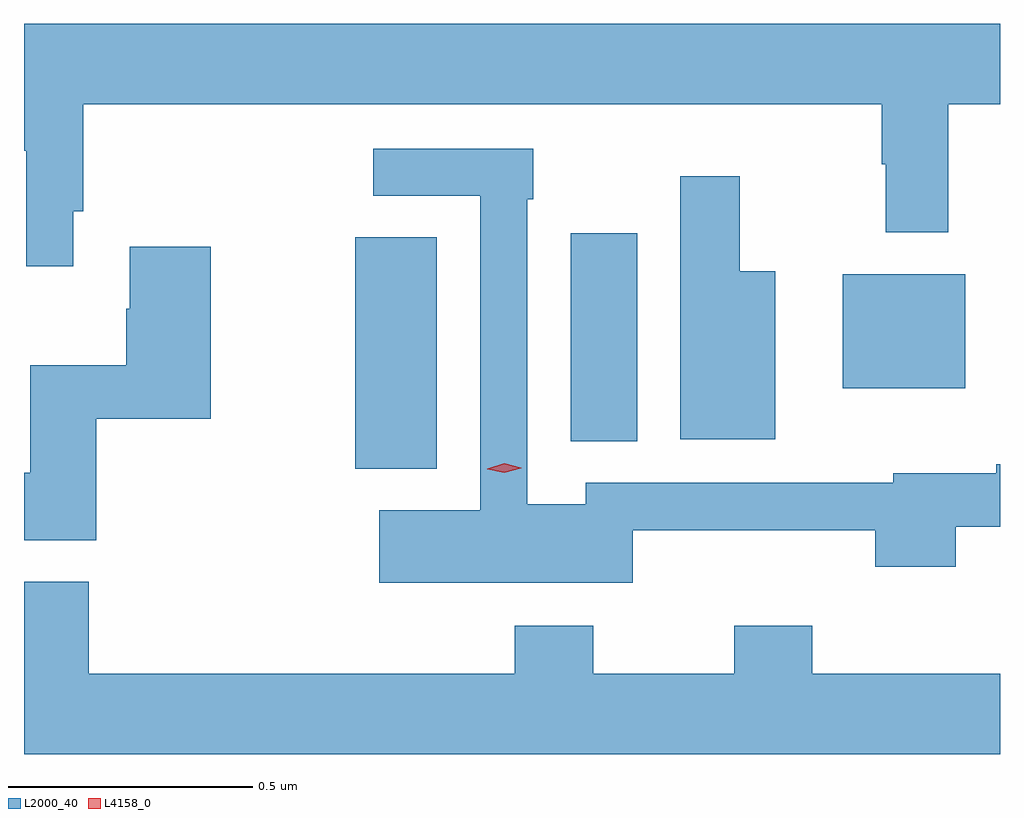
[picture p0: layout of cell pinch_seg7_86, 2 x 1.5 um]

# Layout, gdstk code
import gdstk
lib = gdstk.Library(unit=1e-6, precision=1e-09)
def R(c, l, rs):  # rectangles x0, y0, x1, y1
    for r in rs: c.add(gdstk.rectangle(r[:2], r[2:], *l))
def P(c, l, *ps):  # polygons
    for p in ps: c.add(gdstk.Polygon(p, *l))
L2000_40 = (2000, 40)
L4158_0 = (4158, 0)

pinch_seg7_86 = lib.new_cell('pinch_seg7_86')
R(pinch_seg7_86, L2000_40, [(885.53,1054.481,885.697,1054.955), (885.971,1054.537,886.108,1054.963), (886.529,1054.646,886.78,1054.879)])
P(pinch_seg7_86, L2000_40, [(884.952,1055.008),(884.972,1055.008),(884.972,1055.228),(886.609,1055.228),(886.609,1055.105),(886.617,1055.105),(886.617,1054.965),(886.745,1054.965),(886.745,1055.228),(886.851,1055.228),(886.851,1055.392),(884.851,1055.392),(884.851,1055.132),(884.856,1055.132),(884.856,1054.896),(884.952,1054.896)],
  [(886.098,1054.355),(886.595,1054.355),(886.595,1054.28),(886.76,1054.28),(886.76,1054.362),(886.851,1054.362),(886.851,1054.49),(886.843,1054.49),(886.843,1054.471),(886.632,1054.471),(886.632,1054.452),(886.002,1054.452),(886.002,1054.408),(885.882,1054.408),(885.882,1055.033),(885.895,1055.033),(885.895,1055.136),(885.567,1055.136),(885.567,1055.04),(885.786,1055.04),(885.786,1054.396),(885.579,1054.396),(885.579,1054.247),(886.098,1054.247)],
  [(886.39,1054.885),(886.318,1054.885),(886.318,1055.08),(886.196,1055.08),(886.196,1054.541),(886.39,1054.541)],
  [(884.999,1054.583),(885.234,1054.583),(885.234,1054.936),(885.068,1054.936),(885.068,1054.808),(885.061,1054.808),(885.061,1054.693),(884.864,1054.693),(884.864,1054.472),(884.851,1054.472),(884.851,1054.334),(884.999,1054.334)],
  [(886.851,1054.06),(886.466,1054.06),(886.466,1054.159),(886.306,1054.159),(886.306,1054.06),(886.017,1054.06),(886.017,1054.159),(885.857,1054.159),(885.857,1054.06),(884.984,1054.06),(884.984,1054.249),(884.851,1054.249),(884.851,1053.896),(886.851,1053.896)])
P(pinch_seg7_86, L4158_0, [(885.835,1054.472),(885.8,1054.48),(885.8,1054.481),(885.8,1054.481),(885.835,1054.492),(885.87,1054.483),(885.87,1054.483),(885.87,1054.482)])

lib.write_gds('pinch_seg7_86.gds')
